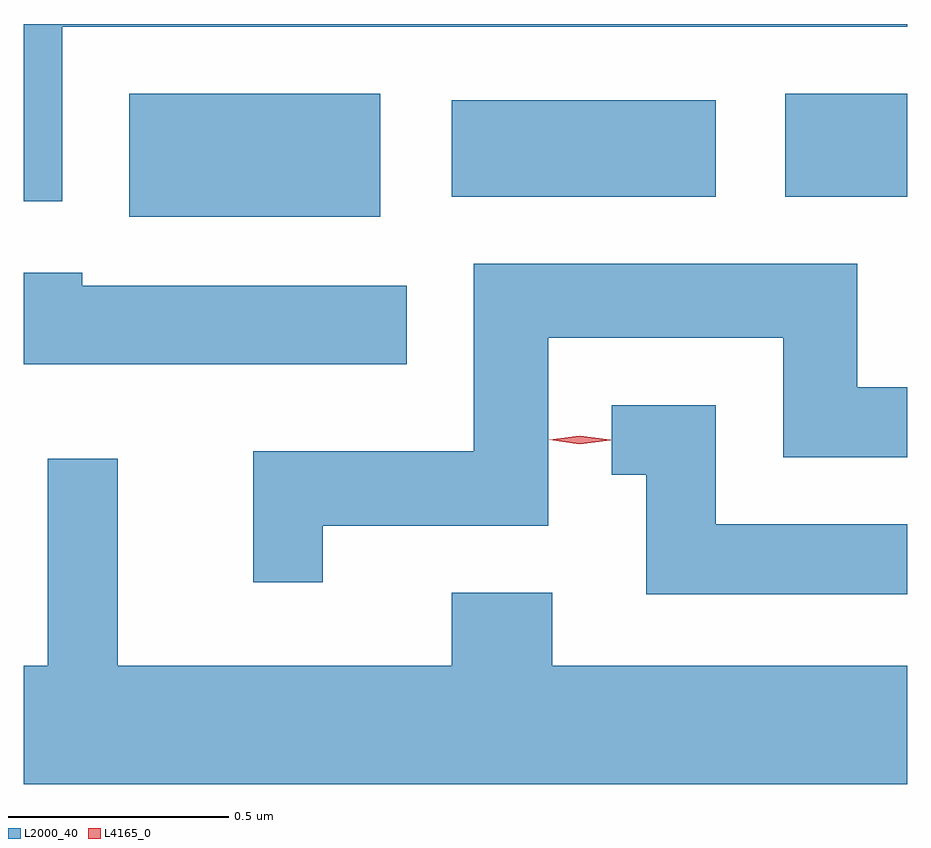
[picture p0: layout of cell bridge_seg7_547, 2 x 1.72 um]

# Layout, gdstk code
import gdstk
lib = gdstk.Library(unit=1e-6, precision=1e-09)
def R(c, l, rs):  # rectangles x0, y0, x1, y1
    for r in rs: c.add(gdstk.rectangle(r[:2], r[2:], *l))
def P(c, l, *ps):  # polygons
    for p in ps: c.add(gdstk.Polygon(p, *l))
L2000_40 = (2000, 40)
L4165_0 = (4165, 0)

bridge_seg7_547 = lib.new_cell('bridge_seg7_547')
R(bridge_seg7_547, L2000_40, [(920.481,1742.241,921.049,1742.519), (921.211,1742.286,921.809,1742.504), (921.966,1742.286,922.242,1742.519)])
P(bridge_seg7_547, L2000_40, [(920.329,1742.671),(922.242,1742.671),(922.242,1742.677),(920.242,1742.677),(920.242,1742.276),(920.329,1742.276)],
  [(920.919,1741.541),(921.429,1741.541),(921.429,1741.966),(921.961,1741.966),(921.961,1741.696),(922.242,1741.696),(922.242,1741.854),(922.129,1741.854),(922.129,1742.134),(921.261,1742.134),(921.261,1741.709),(920.761,1741.709),(920.761,1741.413),(920.919,1741.413)],
  [(921.109,1742.084),(920.374,1742.084),(920.374,1742.114),(920.242,1742.114),(920.242,1741.906),(921.109,1741.906)],
  [(922.242,1741.544),(921.809,1741.544),(921.809,1741.814),(921.573,1741.814),(921.573,1741.656),(921.651,1741.656),(921.651,1741.386),(922.242,1741.386)],
  [(922.242,1741.224),(921.439,1741.224),(921.439,1741.389),(921.211,1741.389),(921.211,1741.224),(920.454,1741.224),(920.454,1741.693),(920.296,1741.693),(920.296,1741.224),(920.242,1741.224),(920.242,1740.956),(922.242,1740.956)])
P(bridge_seg7_547, L4165_0, [(921.501,1741.725),(921.432,1741.735),(921.432,1741.735),(921.432,1741.736),(921.501,1741.745),(921.571,1741.735),(921.571,1741.735),(921.571,1741.734)])

lib.write_gds('bridge_seg7_547.gds')
